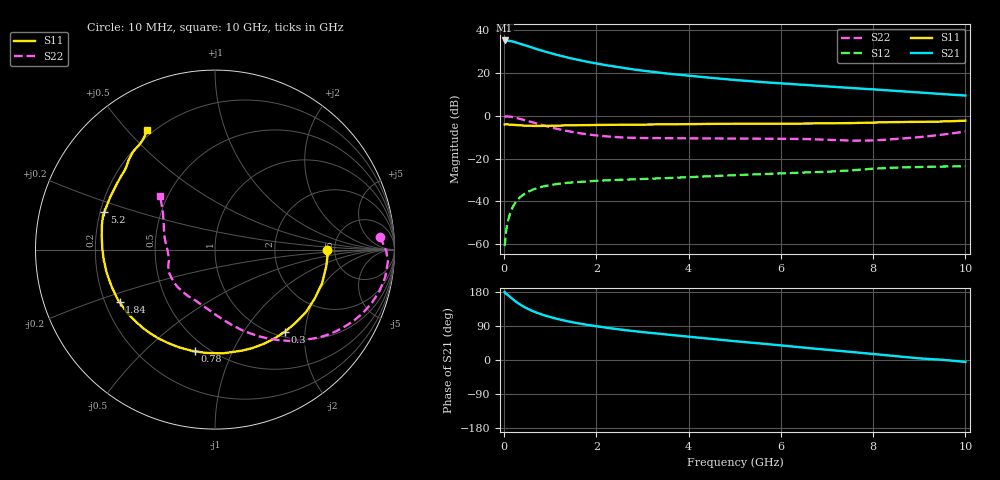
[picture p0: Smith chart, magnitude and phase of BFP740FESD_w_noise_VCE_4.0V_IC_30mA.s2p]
! Infineon Technologies  Discrete & RF Semiconductors
! BFP740FESD
! VCE =  4.0 V,  IC =  30 mA
! Common Emitter S-Parameters:  Jan 2016
# GHz  S  MA  R  50
!  f  S11  S21  S12  S22
! GHz  MAG  ANG  MAG  ANG  MAG  ANG  MAG  ANG
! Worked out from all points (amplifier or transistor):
!   233 points, 10 MHz to 10 GHz, reference 50 ohm
!   highest |S21| = 35.1 dB at 10 MHz (marker M1)
!   |S21| within 3 dB of that: start of sweep to 558.8 MHz
!   unconditionally stable (mu >= 1): start of sweep to 14.63 MHz; 5.266 GHz to end of sweep
!   at 200 MHz: K = 0.19, MSG = 38.4 dB, |S12| = -42.2 dB
!   at 1.74 GHz: K = 0.55, MSG = 28.1 dB, |S12| = -30.7 dB
!   at 10 GHz: K = 1.13, MAG = 14.3 dB, |S12| = -23.6 dB
!   lowest NFmin = 0.98 dB at 450 MHz
!   S11 on the Smith chart (normalised r, x): 10 MHz: 4.30, -0.03; 300 MHz: 1.10, -1.57; 780 MHz: 0.43, -0.72; 1.84 GHz: 0.26, -0.24; 5.2 GHz: 0.22, +0.16; 10 GHz: 0.18, +0.57
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0.01  0.6229 -0.2  57.16 179.4  0.0009 52.2  0.923 4.5
0.02  0.6281 -3.1  56.86 177.1  0.0011 67.0  0.9548 -0.6
0.1  0.6254 -17.5  56.08 169.3  0.0041 74.5  0.9607 -9.2
0.15  0.6188 -26.2  55.03 164.0  0.0061 73.5  0.9447 -14.2
0.24  0.6078 -40.4  52.05 155.2  0.0092 69.0  0.9027 -22.1
0.3  0.6008 -49.6  50 150.0  0.0111 66.1  0.8702 -26.9
0.4  0.5908 -63.0  46.16 142.3  0.014 61.8  0.8128 -34.1
0.5  0.5826 -75.1  42.5 135.7  0.0164 57.5  0.7567 -40.4
0.6  0.5796 -85.5  39.13 130.0  0.0184 54.0  0.7041 -45.7
0.78  0.5775 -101.4  33.95 121.6  0.0214 48.7  0.6221 -54.3
1  0.5827 -116.9  28.97 113.2  0.0241 43.7  0.5392 -63.4
1.2  0.5898 -127.8  25.4 106.9  0.026 40.3  0.4798 -70.7
1.4  0.5961 -136.8  22.47 101.5  0.0273 37.7  0.4319 -77.2
1.68  0.6035 -146.5  19.34 95.2  0.0288 35.2  0.3837 -85.1
1.84  0.6072 -151.1  17.83 92.0  0.0295 34.2  0.3634 -89.3
2.58  0.617 -167.6  13.07 79.4  0.032 31.7  0.3101 -106.4
3.4  0.6266 -179.7  10.01 68.8  0.0345 32.0  0.2995 -118.7
5.1  0.6513 162.3  6.698 48.5  0.0413 33.1  0.2942 -136.6
5.2  0.6509 161.4  6.567 47.5  0.0417 33.1  0.2937 -137.6
6.8  0.6603 144.4  4.977 29.3  0.0483 32.7  0.2797 -158.1
8.4  0.7082 130.6  3.859 11.1  0.0609 30.3  0.282 169.9
10  0.7661 119.4  2.961 -5.0  0.0664 22.3  0.4268 135.8
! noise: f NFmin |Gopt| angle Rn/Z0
0.45  0.98  0.16  -169  0.08
2.4  1.01  0.17  -160  0.09
5.5  1.18  0.22  -171  0.09
10  1.68  0.42  -113  0.22
